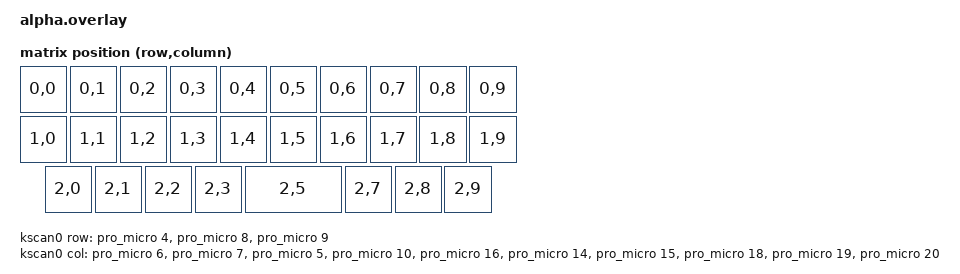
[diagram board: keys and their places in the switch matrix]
#include <dt-bindings/zmk/matrix_transform.h>
#include <physical_layouts.dtsi>

/ {
    chosen {
        zmk,kscan = &kscan0;
        zmk,matrix-transform = &default_transform;
        zmk,physical-layout = &physical_layout0;
    };

    kscan0: kscan_0 {
        compatible = "zmk,kscan-gpio-matrix";
        diode-direction = "col2row";
        wakeup-source;

        row-gpios
            = <&pro_micro 4 (GPIO_ACTIVE_HIGH | GPIO_PULL_DOWN)>
            , <&pro_micro 8 (GPIO_ACTIVE_HIGH | GPIO_PULL_DOWN)>
            , <&pro_micro 9 (GPIO_ACTIVE_HIGH | GPIO_PULL_DOWN)>
            ;

        col-gpios
            = <&pro_micro 6 GPIO_ACTIVE_HIGH>
            , <&pro_micro 7 GPIO_ACTIVE_HIGH>
            , <&pro_micro 5 GPIO_ACTIVE_HIGH>
            , <&pro_micro 10 GPIO_ACTIVE_HIGH>
            , <&pro_micro 16 GPIO_ACTIVE_HIGH>
            , <&pro_micro 14 GPIO_ACTIVE_HIGH>
            , <&pro_micro 15 GPIO_ACTIVE_HIGH>
            , <&pro_micro 18 GPIO_ACTIVE_HIGH>
            , <&pro_micro 19 GPIO_ACTIVE_HIGH>
            , <&pro_micro 20 GPIO_ACTIVE_HIGH>
            ;
    };

    default_transform: keymap_transform_0 {
        compatible = "zmk,matrix-transform";
        columns = <10>;
        rows = <3>;
        map = <
            RC(0,0) RC(0,1) RC(0,2) RC(0,3) RC(0,4) RC(0,5) RC(0,6) RC(0,7) RC(0,8) RC(0,9)
            RC(1,0) RC(1,1) RC(1,2) RC(1,3) RC(1,4) RC(1,5) RC(1,6) RC(1,7) RC(1,8) RC(1,9)
            RC(2,0) RC(2,1) RC(2,2) RC(2,3)         RC(2,5)         RC(2,7) RC(2,8) RC(2,9)
        >;
    };

    physical_layout0: physical_layout_0 {
        compatible = "zmk,physical-layout";
        display-name = "Default Layout";
        transform = <&default_transform>;
        keys  //                      w   h      x    y     r    rx   ry
            = <&key_physical_attrs 100 100      0    0     0    0    0>
            , <&key_physical_attrs 100 100    100    0     0    0    0>
            , <&key_physical_attrs 100 100    200    0     0    0    0>
            , <&key_physical_attrs 100 100    300    0     0    0    0>
            , <&key_physical_attrs 100 100    400    0     0    0    0>
            , <&key_physical_attrs 100 100    500    0     0    0    0>
            , <&key_physical_attrs 100 100    600    0     0    0    0>
            , <&key_physical_attrs 100 100    700    0     0    0    0>
            , <&key_physical_attrs 100 100    800    0     0    0    0>
            , <&key_physical_attrs 100 100    900    0     0    0    0>
            
            , <&key_physical_attrs 100 100      0  100     0    0    0>
            , <&key_physical_attrs 100 100    100  100     0    0    0>
            , <&key_physical_attrs 100 100    200  100     0    0    0>
            , <&key_physical_attrs 100 100    300  100     0    0    0>
            , <&key_physical_attrs 100 100    400  100     0    0    0>
            , <&key_physical_attrs 100 100    500  100     0    0    0>
            , <&key_physical_attrs 100 100    600  100     0    0    0>
            , <&key_physical_attrs 100 100    700  100     0    0    0>
            , <&key_physical_attrs 100 100    800  100     0    0    0>
            , <&key_physical_attrs 100 100    900  100     0    0    0>
            
            , <&key_physical_attrs 100 100     50  200     0    0    0>
            , <&key_physical_attrs 100 100    150  200     0    0    0>
            , <&key_physical_attrs 100 100    250  200     0    0    0>
            , <&key_physical_attrs 100 100    350  200     0    0    0>
            , <&key_physical_attrs 200 100    450  200     0    0    0>
            , <&key_physical_attrs 100 100    650  200     0    0    0>
            , <&key_physical_attrs 100 100    750  200     0    0    0>
            , <&key_physical_attrs 100 100    850  200     0    0    0>
            ;
    };
};
